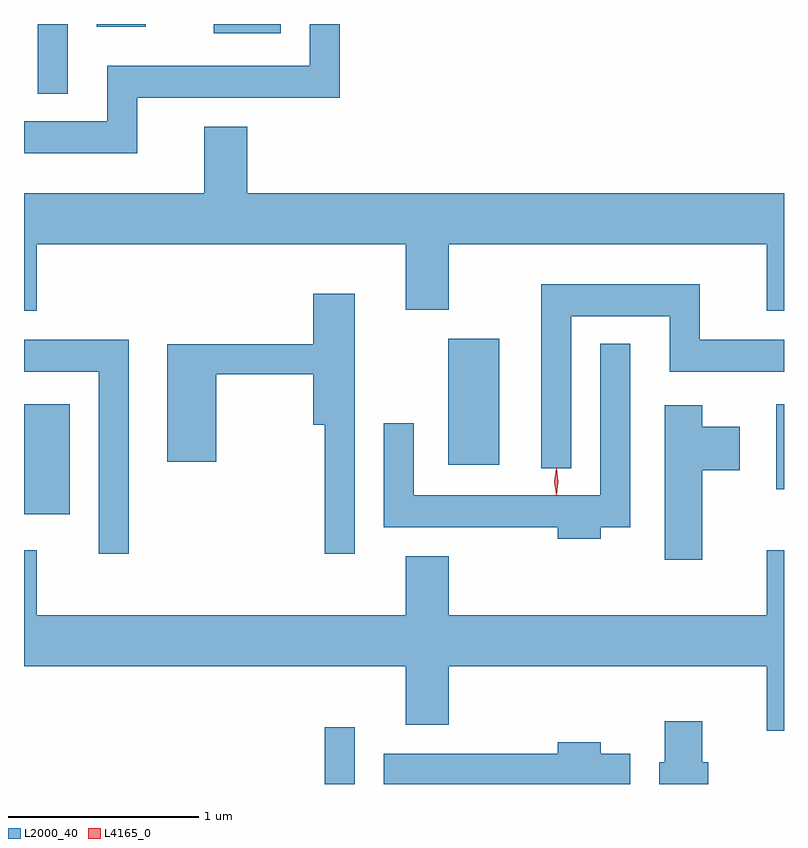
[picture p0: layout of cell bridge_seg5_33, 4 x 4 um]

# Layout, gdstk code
import gdstk
lib = gdstk.Library(unit=1e-6, precision=1e-09)
def R(c, l, rs):  # rectangles x0, y0, x1, y1
    for r in rs: c.add(gdstk.rectangle(r[:2], r[2:], *l))
def P(c, l, *ps):  # polygons
    for p in ps: c.add(gdstk.Polygon(p, *l))
L2000_40 = (2000, 40)
L4165_0 = (4165, 0)

bridge_seg5_33 = lib.new_cell('bridge_seg5_33')
R(bridge_seg5_33, L2000_40, [(1347.186,1471.715,1347.344,1472.013), (1345.603,1473.136,1345.844,1473.714), (1349.561,1473.266,1349.603,1473.714), (1347.836,1473.396,1348.104,1474.059), (1345.676,1475.348,1345.834,1475.715), (1346.601,1475.666,1346.954,1475.715), (1345.986,1475.701,1346.244,1475.715)])
P(bridge_seg5_33, L2000_40, [(1346.199,1475.326),(1347.264,1475.326),(1347.264,1475.715),(1347.106,1475.715),(1347.106,1475.494),(1346.041,1475.494),(1346.041,1475.204),(1345.603,1475.204),(1345.603,1475.036),(1346.199,1475.036)],
  [(1345.669,1474.556),(1347.611,1474.556),(1347.611,1474.211),(1347.839,1474.211),(1347.839,1474.556),(1349.511,1474.556),(1349.511,1474.206),(1349.603,1474.206),(1349.603,1474.824),(1346.779,1474.824),(1346.779,1475.174),(1346.551,1475.174),(1346.551,1474.824),(1345.603,1474.824),(1345.603,1474.206),(1345.669,1474.206)],
  [(1348.484,1474.176),(1349.001,1474.176),(1349.001,1473.886),(1349.603,1473.886),(1349.603,1474.054),(1349.159,1474.054),(1349.159,1474.344),(1348.326,1474.344),(1348.326,1473.378),(1348.484,1473.378)],
  [(1347.344,1474.294),(1347.126,1474.294),(1347.126,1474.029),(1346.356,1474.029),(1346.356,1473.411),(1346.614,1473.411),(1346.614,1473.871),(1347.126,1473.871),(1347.126,1473.606),(1347.186,1473.606),(1347.186,1472.928),(1347.344,1472.928)],
  [(1346.154,1474.054),(1345.603,1474.054),(1345.603,1473.886),(1345.996,1473.886),(1345.996,1472.928),(1346.154,1472.928)],
  [(1348.639,1473.066),(1348.794,1473.066),(1348.794,1474.033),(1348.636,1474.033),(1348.636,1473.234),(1347.654,1473.234),(1347.654,1473.613),(1347.496,1473.613),(1347.496,1473.066),(1348.411,1473.066),(1348.411,1473.006),(1348.639,1473.006)],
  [(1349.174,1473.366),(1349.369,1473.366),(1349.369,1473.594),(1349.174,1473.594),(1349.174,1473.709),(1348.976,1473.709),(1348.976,1472.896),(1349.174,1472.896)],
  [(1349.603,1472.944),(1349.511,1472.944),(1349.511,1472.604),(1347.839,1472.604),(1347.839,1472.914),(1347.611,1472.914),(1347.611,1472.604),(1345.669,1472.604),(1345.669,1472.944),(1345.603,1472.944),(1345.603,1472.336),(1347.611,1472.336),(1347.611,1472.026),(1347.839,1472.026),(1347.839,1472.336),(1349.511,1472.336),(1349.511,1471.996),(1349.603,1471.996)],
  [(1349.204,1471.829),(1349.174,1471.829),(1349.174,1472.044),(1348.976,1472.044),(1348.976,1471.829),(1348.946,1471.829),(1348.946,1471.715),(1349.204,1471.715)],
  [(1348.794,1471.874),(1348.639,1471.874),(1348.639,1471.934),(1348.411,1471.934),(1348.411,1471.874),(1347.496,1471.874),(1347.496,1471.715),(1348.794,1471.715)])
P(bridge_seg5_33, L4165_0, [(1348.404,1473.237),(1348.395,1473.306),(1348.404,1473.376),(1348.405,1473.376),(1348.406,1473.376),(1348.415,1473.306),(1348.406,1473.237),(1348.405,1473.237)])

lib.write_gds('bridge_seg5_33.gds')
